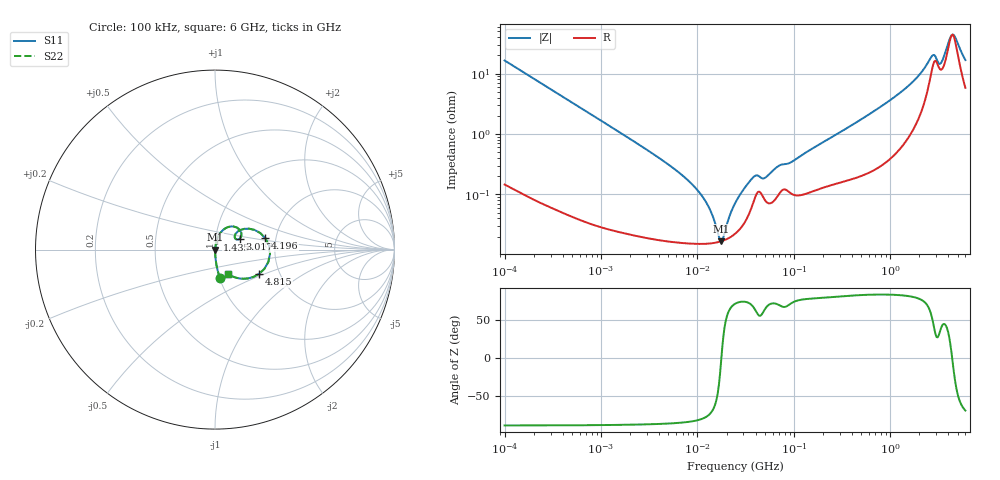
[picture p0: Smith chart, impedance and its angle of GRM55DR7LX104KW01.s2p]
!Murata Part Number: GRM55DR7LX104KW01
!These Parameters are Measured in Series Mode Connection
!Data Generated on Mar 30, 2021
!  o--ll--o
!Port1  Port2
!  o------o
!Operation Temp=25[degC], DC Bias Voltage=0[V]
!Freq. Start=100[kHz] Stop=6[GHz] 401[Steps]
# Hz S RI R 50
!Freq.(Hz) S11(Real) S11(Imag) S21(Real) S21(Imag) S12(Real) S12(Imag) S22(Real) S22(Imag)
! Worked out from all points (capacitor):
!   401 points, 100 kHz to 6 GHz, reference 50 ohm
!   read as one part in series: C = 96.7 nF near 105.7 kHz
!   lowest |Z| = 16.7 mohm at 17.61 MHz (marker M1)
!   series resonance near 17.7 MHz, so ESL is about 840 pH
!   S11 on the Smith chart (normalised r, x): 100 kHz: 1.00, -0.33; 1.435 GHz: 1.01, +0.11; 3.017 GHz: 1.31, +0.16; 4.196 GHz: 1.76, +0.24; 4.815 GHz: 1.57, -0.46; 6 GHz: 1.12, -0.31
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100000  0.0277 -0.1596  0.9723 0.1596  0.9723 0.1596  0.0277 -0.1596
631452  0.00105 -0.0262  0.9989 0.0262  0.9989 0.0262  0.00105 -0.0262
3987316  0.00019 -0.00401  0.9998 0.00401  0.9998 0.00401  0.00019 -0.00401
7302625  0.000159 -0.00193  0.9998 0.00193  0.9998 0.00193  0.000159 -0.00193
1.073283e7  0.000152 -0.00101  0.9998 0.00101  0.9998 0.00101  0.000152 -0.00101
1.337449e7  0.000154 -0.000553  0.9998 0.000553  0.9998 0.000553  0.000154 -0.000553
1.760885e7  0.000167 -1e-05  0.9998 1e-05  0.9998 1e-05  0.000167 -1e-05
1.860466e7  0.000172 9.91e-05  0.9998 -9.91e-05  0.9998 -9.91e-05  0.000172 9.91e-05
2.517799e7  0.000231 0.000733  0.9998 -0.000733  0.9998 -0.000733  0.000231 0.000733
3.909733e7  0.000845 0.00181  0.9992 -0.00181  0.9992 -0.00181  0.000845 0.00181
5.007898e7  0.000803 0.00169  0.9992 -0.00169  0.9992 -0.00169  0.000803 0.00169
6.966265e7  0.001 0.00279  0.999 -0.00279  0.999 -0.00279  0.001 0.00279
1.546735e8  0.00114 0.00559  0.9989 -0.00559  0.9989 -0.00559  0.00114 0.00559
9.76689e8  0.00497 0.035  0.995 -0.035  0.995 -0.035  0.00497 0.035
1.435462e9  0.0104 0.0553  0.9896 -0.0553  0.9896 -0.0553  0.0104 0.0553
2.628996e9  0.1042 0.1286  0.8958 -0.1286  0.8958 -0.1286  0.1042 0.1286
3.016594e9  0.1376 0.0602  0.8624 -0.0602  0.8624 -0.0602  0.1376 0.0602
3.367428e9  0.1103 0.0778  0.8897 -0.0778  0.8897 -0.0778  0.1103 0.0778
3.863894e9  0.1901 0.1165  0.8099 -0.1165  0.8099 -0.1165  0.1901 0.1165
4.19625e9  0.2807 0.0633  0.7193 -0.0633  0.7193 -0.0633  0.2807 0.0633
4.814911e9  0.2456 -0.1351  0.7544 0.1351  0.7544 0.1351  0.2456 -0.1351
6e9  0.0751 -0.137  0.9249 0.137  0.9249 0.137  0.0751 -0.137
